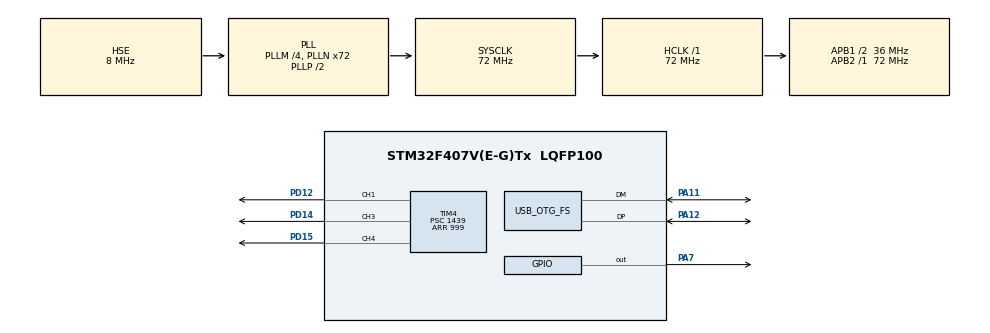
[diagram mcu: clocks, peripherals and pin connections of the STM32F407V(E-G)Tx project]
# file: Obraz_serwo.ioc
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Mcu.Family=STM32F4
Mcu.Name=STM32F407V(E-G)Tx
Mcu.Package=LQFP100
NVIC.OTG_FS_IRQn=true\:0\:0\:false\:false\:true\:false
NVIC.PriorityGroup=NVIC_PRIORITYGROUP_4
NVIC.TIM4_IRQn=true\:0\:0\:false\:false\:true\:true
PA11.Mode=Device_Only
PA11.Signal=USB_OTG_FS_DM
PA12.Mode=Device_Only
PA12.Signal=USB_OTG_FS_DP
PA7.GPIO_ModeDefaultOutputPP=GPIO_MODE_OUTPUT_OD
PA7.GPIO_PuPd=GPIO_NOPULL
PA7.PinState=GPIO_PIN_SET
PA7.Signal=GPIO_Output
PD12.Signal=S_TIM4_CH1
PD14.Signal=S_TIM4_CH3
PD15.Signal=S_TIM4_CH4
PH0-OSC_IN.Mode=HSE-External-Oscillator
PH0-OSC_IN.Signal=RCC_OSC_IN
PH1-OSC_OUT.Mode=HSE-External-Oscillator
PH1-OSC_OUT.Signal=RCC_OSC_OUT
ProjectManager.HeapSize=0x200
ProjectManager.StackSize=0x400
ProjectManager.TargetToolchain=SW4STM32
RCC.48MHZClocksFreq_Value=48000000
RCC.AHBFreq_Value=72000000
RCC.APB1CLKDivider=RCC_HCLK_DIV2
RCC.APB1Freq_Value=36000000
RCC.APB1TimFreq_Value=72000000
RCC.APB2Freq_Value=72000000
RCC.APB2TimFreq_Value=72000000
RCC.CortexFreq_Value=72000000
RCC.HCLKFreq_Value=72000000
RCC.HSE_VALUE=8000000
RCC.HSI_VALUE=16000000
RCC.LSE_VALUE=32768
RCC.PLLM=4
RCC.PLLN=72
RCC.PLLQ=3
RCC.SYSCLKFreq_VALUE=72000000
RCC.SYSCLKSource=RCC_SYSCLKSOURCE_PLLCLK
RCC.VCOOutputFreq_Value=144000000
SH.S_TIM4_CH1.0=TIM4_CH1,PWM Generation1 CH1
SH.S_TIM4_CH3.0=TIM4_CH3,PWM Generation3 CH3
SH.S_TIM4_CH4.0=TIM4_CH4,PWM Generation4 CH4
TIM4.Channel-PWM\ Generation1\ CH1=TIM_CHANNEL_1
TIM4.Channel-PWM\ Generation3\ CH3=TIM_CHANNEL_3
TIM4.Channel-PWM\ Generation4\ CH4=TIM_CHANNEL_4
TIM4.ClockDivision=TIM_CLOCKDIVISION_DIV1
TIM4.Period=999
TIM4.Prescaler=1439
TIM4.Pulse-PWM\ Generation1\ CH1=500
TIM4.Pulse-PWM\ Generation3\ CH3=500
TIM4.Pulse-PWM\ Generation4\ CH4=500
TIM4.TIM_MasterSlaveMode=TIM_MASTERSLAVEMODE_DISABLE
USB_DEVICE.CLASS_NAME_FS=CDC
USB_DEVICE.VirtualMode-CDC_FS=Cdc
USB_DEVICE.VirtualModeFS=Cdc_FS
USB_OTG_FS.VirtualMode=Device_Only
VP_TIM4_VS_ClockSourceINT.Mode=Internal
VP_USB_DEVICE_VS_USB_DEVICE_CDC_FS.Mode=CDC_FS
board=custom

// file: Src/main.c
/* USER CODE BEGIN Header */
/**
  ******************************************************************************
  * @file           : main.c
  * @brief          : Main program body
  ******************************************************************************
  * This notice applies to any and all portions of this file
  * that are not between comment pairs USER CODE BEGIN and
  * USER CODE END. Other portions of this file, whether
  * inserted by the user or by software development tools
  * are owned by their respective copyright owners.
  *
  * Copyright (c) 2019 STMicroelectronics International N.V.
  * All rights reserved.
  *
  * Redistribution and use in source and binary forms, with or without
  * modification, are permitted, provided that the following conditions are met:
  *
  * 1. Redistribution of source code must retain the above copyright notice,
  *    this list of conditions and the following disclaimer.
  * 2. Redistributions in binary form must reproduce the above copyright notice,
  *    this list of conditions and the following disclaimer in the documentation
  *    and/or other materials provided with the distribution.
  * 3. Neither the name of STMicroelectronics nor the names of other
  *    contributors to this software may be used to endorse or promote products
  *    derived from this software without specific written permission.
  * 4. This software, including modifications and/or derivative works of this
  *    software, must execute solely and exclusively on microcontroller or
  *    microprocessor devices manufactured by or for STMicroelectronics.
  * 5. Redistribution and use of this software other than as permitted under
  *    this license is void and will automatically terminate your rights under
  *    this license.
  *
  * THIS SOFTWARE IS PROVIDED BY STMICROELECTRONICS AND CONTRIBUTORS "AS IS"
  * AND ANY EXPRESS, IMPLIED OR STATUTORY WARRANTIES, INCLUDING, BUT NOT
  * LIMITED TO, THE IMPLIED WARRANTIES OF MERCHANTABILITY, FITNESS FOR A
  * PARTICULAR PURPOSE AND NON-INFRINGEMENT OF THIRD PARTY INTELLECTUAL PROPERTY
  * RIGHTS ARE DISCLAIMED TO THE FULLEST EXTENT PERMITTED BY LAW. IN NO EVENT
  * SHALL STMICROELECTRONICS OR CONTRIBUTORS BE LIABLE FOR ANY DIRECT, INDIRECT,
  * INCIDENTAL, SPECIAL, EXEMPLARY, OR CONSEQUENTIAL DAMAGES (INCLUDING, BUT NOT
  * LIMITED TO, PROCUREMENT OF SUBSTITUTE GOODS OR SERVICES; LOSS OF USE, DATA,
  * OR PROFITS; OR BUSINESS INTERRUPTION) HOWEVER CAUSED AND ON ANY THEORY OF
  * LIABILITY, WHETHER IN CONTRACT, STRICT LIABILITY, OR TORT (INCLUDING
  * NEGLIGENCE OR OTHERWISE) ARISING IN ANY WAY OUT OF THE USE OF THIS SOFTWARE,
  * EVEN IF ADVISED OF THE POSSIBILITY OF SUCH DAMAGE.
  *
  ******************************************************************************
  */
/* USER CODE END Header */

#include "main.h"
#include "usb_device.h"

TIM_HandleTypeDef htim4;

/* USER CODE BEGIN PV */
uint8_t ReceivedData[4]; // Tablica przechowujaca odebrane dane, sa to dwa znaki ASCII zapisane binarnie
uint8_t Xcoord[2];		  // Tablica ktora bedzie zawierac pierwsza polowe danych czyli pierwszy znak ASCII oznaczajacy X
uint8_t Ycoord[2];		  // Tablica ktora bedzie zawierac druga polowe danych czyli drugi znak ASCII oznaczajacy Y
uint8_t ReceivedDataFlag = 0; // Flaga informujaca o odebraniu danych
int i = 0;
/* USER CODE END PV */

void SystemClock_Config(void);
static void MX_GPIO_Init(void);
static void MX_TIM4_Init(void);

/* USER CODE BEGIN 0 */
int x ,y,j;
/* USER CODE END 0 */

int main(void)
{

  /* MCU Configuration--------------------------------------------------------*/

  /* Reset of all peripherals, Initializes the Flash interface and the Systick. */
  HAL_Init();

  /* Configure the system clock */
  SystemClock_Config();

  /* Initialize all configured peripherals */
  MX_GPIO_Init();
  MX_USB_DEVICE_Init();
  MX_TIM4_Init();
  /* USER CODE BEGIN 2 */
  HAL_TIM_PWM_Start(&htim4, TIM_CHANNEL_1);
  HAL_TIM_PWM_Start(&htim4, TIM_CHANNEL_3);
  HAL_TIM_PWM_Start(&htim4, TIM_CHANNEL_4);
  /* USER CODE END 2 */

  /* Infinite loop */
  /* USER CODE BEGIN WHILE */
  while (1)
    {

	  if(ReceivedDataFlag == 1){
 	  	  	 ReceivedDataFlag = 0;
 	  	  	 for(int i = 0; i < 2; i++)	// Dzielenie na wspolrzedna X i Y
 	  	  	 {
 	  	  		 Xcoord[i] = ReceivedData[i];
 	  	  		 Ycoord[i] = ReceivedData[i+2];
 	  	  	 }
 	  	  	 sscanf(Xcoord, "%d", &x);
 	  	  	 sscanf(Ycoord, "%d", &y);
 	  	  	 TIM4->CCR3 = round(y*0.44)+60;
 	  	  	 TIM4->CCR1 = round(x*0.44)+60;
 	  	  	 for(int i = 0;i<10000000;i++){
 	  	  	TIM4->CCR4 = 20;
 	  	  	 }
	  }
	  TIM4->CCR4 = 120;

    /* USER CODE END WHILE */

    }
}

void SystemClock_Config(void)
{
  RCC_OscInitTypeDef RCC_OscInitStruct = {0};
  RCC_ClkInitTypeDef RCC_ClkInitStruct = {0};

  /**Configure the main internal regulator output voltage
  */
  __HAL_RCC_PWR_CLK_ENABLE();
  __HAL_PWR_VOLTAGESCALING_CONFIG(PWR_REGULATOR_VOLTAGE_SCALE1);
  /**Initializes the CPU, AHB and APB busses clocks
  */
  RCC_OscInitStruct.OscillatorType = RCC_OSCILLATORTYPE_HSE;
  RCC_OscInitStruct.HSEState = RCC_HSE_ON;
  RCC_OscInitStruct.PLL.PLLState = RCC_PLL_ON;
  RCC_OscInitStruct.PLL.PLLSource = RCC_PLLSOURCE_HSE;
  RCC_OscInitStruct.PLL.PLLM = 4;
  RCC_OscInitStruct.PLL.PLLN = 72;
  RCC_OscInitStruct.PLL.PLLP = RCC_PLLP_DIV2;
  RCC_OscInitStruct.PLL.PLLQ = 3;
  if (HAL_RCC_OscConfig(&RCC_OscInitStruct) != HAL_OK)
  {
    Error_Handler();
  }
  /**Initializes the CPU, AHB and APB busses clocks
  */
  RCC_ClkInitStruct.ClockType = RCC_CLOCKTYPE_HCLK|RCC_CLOCKTYPE_SYSCLK
                              |RCC_CLOCKTYPE_PCLK1|RCC_CLOCKTYPE_PCLK2;
  RCC_ClkInitStruct.SYSCLKSource = RCC_SYSCLKSOURCE_PLLCLK;
  RCC_ClkInitStruct.AHBCLKDivider = RCC_SYSCLK_DIV1;
  RCC_ClkInitStruct.APB1CLKDivider = RCC_HCLK_DIV2;
  RCC_ClkInitStruct.APB2CLKDivider = RCC_HCLK_DIV1;

  if (HAL_RCC_ClockConfig(&RCC_ClkInitStruct, FLASH_LATENCY_2) != HAL_OK)
  {
    Error_Handler();
  }
}

static void MX_TIM4_Init(void)
{

  TIM_ClockConfigTypeDef sClockSourceConfig = {0};
  TIM_MasterConfigTypeDef sMasterConfig = {0};
  TIM_OC_InitTypeDef sConfigOC = {0};

  htim4.Instance = TIM4;
  htim4.Init.Prescaler = 1439;
  htim4.Init.CounterMode = TIM_COUNTERMODE_UP;
  htim4.Init.Period = 999;
  htim4.Init.ClockDivision = TIM_CLOCKDIVISION_DIV1;
  if (HAL_TIM_Base_Init(&htim4) != HAL_OK)
  {
    Error_Handler();
  }
  sClockSourceConfig.ClockSource = TIM_CLOCKSOURCE_INTERNAL;
  if (HAL_TIM_ConfigClockSource(&htim4, &sClockSourceConfig) != HAL_OK)
  {
    Error_Handler();
  }
  if (HAL_TIM_PWM_Init(&htim4) != HAL_OK)
  {
    Error_Handler();
  }
  sMasterConfig.MasterOutputTrigger = TIM_TRGO_RESET;
  sMasterConfig.MasterSlaveMode = TIM_MASTERSLAVEMODE_DISABLE;
  if (HAL_TIMEx_MasterConfigSynchronization(&htim4, &sMasterConfig) != HAL_OK)
  {
    Error_Handler();
  }
  sConfigOC.OCMode = TIM_OCMODE_PWM1;
  sConfigOC.Pulse = 500;
  sConfigOC.OCPolarity = TIM_OCPOLARITY_HIGH;
  sConfigOC.OCFastMode = TIM_OCFAST_DISABLE;
  if (HAL_TIM_PWM_ConfigChannel(&htim4, &sConfigOC, TIM_CHANNEL_1) != HAL_OK)
  {
    Error_Handler();
  }
  if (HAL_TIM_PWM_ConfigChannel(&htim4, &sConfigOC, TIM_CHANNEL_3) != HAL_OK)
  {
    Error_Handler();
  }
  if (HAL_TIM_PWM_ConfigChannel(&htim4, &sConfigOC, TIM_CHANNEL_4) != HAL_OK)
  {
    Error_Handler();
  }
  HAL_TIM_MspPostInit(&htim4);

}

static void MX_GPIO_Init(void)
{
  GPIO_InitTypeDef GPIO_InitStruct = {0};

  /* GPIO Ports Clock Enable */
  __HAL_RCC_GPIOH_CLK_ENABLE();
  __HAL_RCC_GPIOA_CLK_ENABLE();
  __HAL_RCC_GPIOD_CLK_ENABLE();

  /*Configure GPIO pin Output Level */
  HAL_GPIO_WritePin(GPIOA, GPIO_PIN_7, GPIO_PIN_SET);

  /*Configure GPIO pin : PA7 */
  GPIO_InitStruct.Pin = GPIO_PIN_7;
  GPIO_InitStruct.Mode = GPIO_MODE_OUTPUT_OD;
  GPIO_InitStruct.Pull = GPIO_NOPULL;
  GPIO_InitStruct.Speed = GPIO_SPEED_FREQ_LOW;
  HAL_GPIO_Init(GPIOA, &GPIO_InitStruct);

}

void Error_Handler(void)
{
}

/************************ (C) COPYRIGHT STMicroelectronics *****END OF FILE****/
